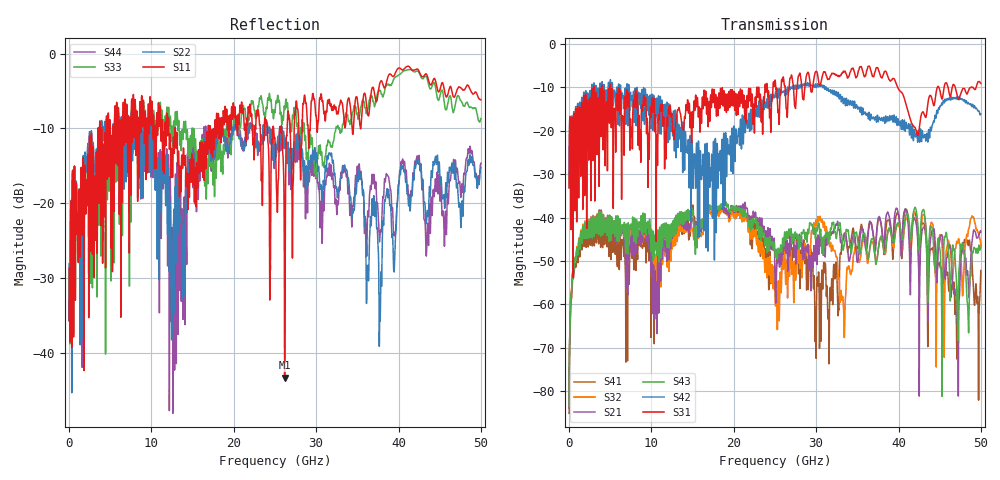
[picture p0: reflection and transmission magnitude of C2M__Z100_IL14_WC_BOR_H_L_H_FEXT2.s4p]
# GHz S MA R 50
! S-Parameters data
! Freq  magS11  angS11  magS12  angS12  magS13  angS13  magS14  angS14
!  magS21  angS21  magS22  angS22  magS23  angS23  magS24  angS24
!  magS31  angS31  magS32  angS32  magS33  angS33  magS34  angS34
!  magS41  angS41  magS42  angS42  magS43  angS43  magS44  angS44
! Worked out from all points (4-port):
!   5000 points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, 10 MHz to 50 GHz, reference 50 ohm
!   strongest paths, dB at 10 MHz, 12.51 GHz, 25.01 GHz, 37.51 GHz, 50 GHz:
!     S31: -33.2, -17.1, -8.3, -5.6, -9.1
!     S42: -33.1, -16.5, -11.6, -17.6, -16.1
!     S43: -83.5, -43.8, -48.5, -47.8, -47.0
!     S21: -83.8, -44.8, -55.2, -40.3, -43.3
!     S32: -83.2, -47.2, -58.4, -47.7, -46.6
!     S41: -85.1, -45.2, -53.0, -40.7, -52.2
!   lowest |S11| = -43.4 dB at 26.17 GHz (marker M1), VSWR 1.01, Z = 49.3 - j0.14 ohm
!   |S11| at or under -10 dB: start of sweep to 3.53 GHz; 12.13 GHz to 12.87 GHz (739.7 MHz wide, 5.92 % of centre); 12.9 GHz to 16.89 GHz (3.991 GHz wide, 26.8 % of centre)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
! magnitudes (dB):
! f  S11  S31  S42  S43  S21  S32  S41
! 10 MHz  -35.7  -33.2  -33.1  -83.5  -83.8  -83.2  -85.1
! 3.48 GHz  -12.4  -13.5  -10.8  -40.4  -40.2  -39.8  -42.2
! 17.05 GHz  -12.0  -16.3  -31.9  -37.3  -37.2  -38.5  -37.4
! 26.17 GHz  -43.4  -9.7  -11.4  -43.4  -44.0  -47.3  -44.8
! 40.85 GHz  -1.8  -13.5  -19.4  -39.8  -38.0  -40.5  -38.1
! 47.16 GHz  -4.7  -12.1  -12.6  -65.8  -59.7  -46.0  -62.0
! 50 GHz  -6.2  -9.1  -16.1  -47.0  -43.3  -46.6  -52.2
